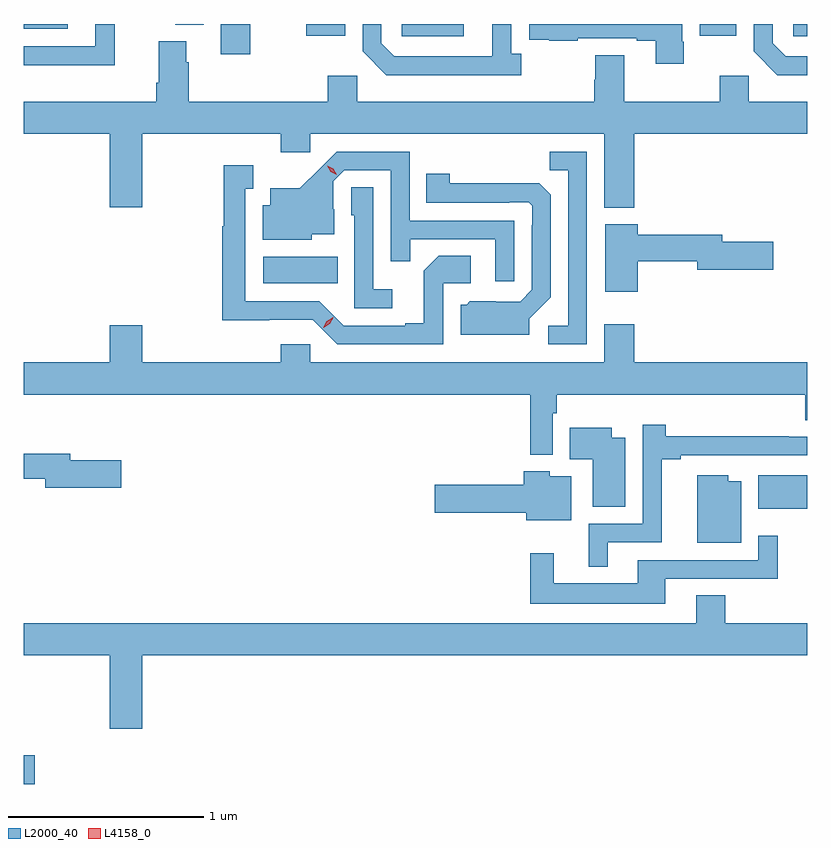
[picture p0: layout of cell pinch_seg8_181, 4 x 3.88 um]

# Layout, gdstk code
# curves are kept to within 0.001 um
import gdstk
lib = gdstk.Library(unit=1e-6, precision=1e-09)
def R(c, l, rs):  # rectangles x0, y0, x1, y1
    for r in rs: c.add(gdstk.rectangle(r[:2], r[2:], *l))
def P(c, l, *ps):  # polygons
    for p in ps: c.add(gdstk.Polygon(p, *l))
L2000_40 = (2000, 40)
L4158_0 = (4158, 0)

pinch_seg8_181 = lib.new_cell('pinch_seg8_181')
R(pinch_seg8_181, L2000_40, [(632.101,1150.475,632.155,1150.622), (635.852,1151.882,636.101,1152.052), (633.324,1153.034,633.704,1153.168), (633.107,1154.202,633.256,1154.357), (634.032,1154.295,634.348,1154.357), (636.03,1154.295,636.101,1154.357), (633.543,1154.297,633.742,1154.357), (635.552,1154.297,635.74,1154.357), (632.101,1154.334,632.326,1154.357), (632.873,1154.354,633.019,1154.357)])
P(pinch_seg8_181, L2000_40, [(632.565,1154.357),(632.465,1154.357),(632.465,1154.244),(632.101,1154.244),(632.101,1154.147),(632.565,1154.147)],
  [(636.101,1154.193),(635.991,1154.193),(635.925,1154.259),(635.925,1154.357),(635.829,1154.357),(635.829,1154.217),(635.95,1154.096),(636.101,1154.096)],
  [(635.472,1154.266),(635.463,1154.266),(635.463,1154.357),(634.681,1154.357),(634.681,1154.277),(634.783,1154.277),(634.783,1154.271),(634.931,1154.271),(634.931,1154.283),(635.231,1154.283),(635.231,1154.271),(635.327,1154.271),(635.327,1154.154),(635.472,1154.154)],
  [(634.642,1154.206),(634.59,1154.206),(634.59,1154.357),(634.493,1154.357),(634.493,1154.193),(633.993,1154.193),(633.927,1154.259),(633.927,1154.357),(633.831,1154.357),(633.831,1154.217),(633.952,1154.096),(634.642,1154.096)],
  [(632.789,1154.269),(632.789,1154.056),(632.777,1154.056),(632.777,1153.96),(632.101,1153.96),(632.101,1153.796),(632.54,1153.796),(632.54,1153.422),(632.704,1153.422),(632.704,1153.796),(633.413,1153.796),(633.413,1153.701),(633.564,1153.701),(633.564,1153.796),(635.066,1153.796),(635.066,1153.418),(635.219,1153.418),(635.219,1153.796),(636.101,1153.796),(636.101,1153.96),(635.802,1153.96),(635.802,1154.092),(635.656,1154.092),(635.656,1153.96),(635.167,1153.96),(635.167,1154.198),(635.02,1154.198),(635.02,1154.073),(635.015,1154.073),(635.015,1153.96),(633.804,1153.96),(633.804,1154.092),(633.653,1154.092),(633.653,1153.96),(632.942,1153.96),(632.942,1154.162),(632.929,1154.162),(632.929,1154.269)],
  [(634.977,1153.704),(634.786,1153.704),(634.786,1153.609),(634.881,1153.609),(634.881,1152.816),(634.779,1152.816),(634.779,1152.72),(634.977,1152.72)],
  [(634.605,1153.353),(634.071,1153.353),(634.071,1153.704),(633.698,1153.704),(633.511,1153.519),(633.359,1153.519),(633.359,1153.432),(633.32,1153.432),(633.32,1153.256),(633.57,1153.256),(633.57,1153.283),(633.685,1153.283),(633.685,1153.412),(633.681,1153.412),(633.681,1153.554),(633.738,1153.611),(633.975,1153.611),(633.975,1153.144),(634.073,1153.144),(634.073,1153.257),(634.509,1153.257),(634.509,1153.044),(634.605,1153.044)],
  [(634.242,1153.032),(634.384,1153.032),(634.384,1153.172),(634.219,1153.172),(634.143,1153.096),(634.143,1152.829),(634.049,1152.829),(634.049,1152.816),(633.735,1152.816),(633.609,1152.942),(633.232,1152.942),(633.232,1153.515),(633.271,1153.515),(633.271,1153.636),(633.121,1153.636),(633.121,1153.323),(633.114,1153.323),(633.114,1152.845),(633.576,1152.846),(633.702,1152.72),(634.242,1152.72)],
  [(634.681,1152.852),(634.791,1152.962),(634.791,1153.484),(634.732,1153.543),(634.275,1153.544),(634.275,1153.591),(634.156,1153.591),(634.156,1153.443),(634.58,1153.443),(634.58,1153.446),(634.68,1153.446),(634.698,1153.428),(634.698,1153.328),(634.695,1153.328),(634.695,1152.999),(634.635,1152.939),(634.378,1152.94),(634.362,1152.924),(634.331,1152.924),(634.331,1152.77),(634.681,1152.77)],
  [(633.982,1153.003),(633.885,1153.003),(633.885,1153.523),(633.774,1153.523),(633.774,1153.38),(633.789,1153.38),(633.789,1152.906),(633.982,1152.906)],
  [(635.236,1153.144),(635.54,1153.144),(635.54,1153.102),(635.929,1153.102),(635.929,1153.244),(635.668,1153.244),(635.668,1153.28),(635.236,1153.28),(635.236,1153.333),(635.069,1153.333),(635.069,1152.99),(635.236,1152.99)],
  [(634.803,1152.368),(634.823,1152.368),(634.823,1152.464),(636.092,1152.464),(636.092,1152.334),(636.101,1152.334),(636.101,1152.628),(635.219,1152.628),(635.219,1152.823),(635.066,1152.823),(635.066,1152.628),(633.564,1152.628),(633.564,1152.721),(633.413,1152.721),(633.413,1152.628),(632.704,1152.628),(632.704,1152.817),(632.54,1152.817),(632.54,1152.628),(632.101,1152.628),(632.101,1152.464),(634.687,1152.464),(634.687,1152.158),(634.803,1152.158)],
  [(635.083,1151.709),(635.36,1151.709),(635.36,1152.133),(635.455,1152.133),(635.455,1152.153),(636.101,1152.153),(636.101,1152.249),(636.008,1152.249),(636.008,1152.251),(635.378,1152.251),(635.378,1152.31),(635.262,1152.31),(635.262,1151.805),(634.985,1151.805),(634.985,1151.585),(635.083,1151.585)],
  [(635.173,1152.244),(635.104,1152.244),(635.104,1152.295),(634.888,1152.295),(634.888,1152.134),(635.006,1152.134),(635.006,1151.89),(635.173,1151.89)],
  [(632.599,1152.129),(632.338,1152.129),(632.338,1152.163),(632.101,1152.163),(632.101,1152.034),(632.21,1152.034),(632.21,1151.987),(632.599,1151.987)],
  [(634.897,1152.046),(634.788,1152.046),(634.788,1152.073),(634.655,1152.073),(634.655,1152.003),(634.2,1152.003),(634.2,1151.861),(634.667,1151.861),(634.667,1151.822),(634.897,1151.822)],
  [(635.764,1152.022),(635.698,1152.022),(635.698,1152.052),(635.54,1152.052),(635.54,1151.708),(635.764,1151.708)],
  [(635.377,1151.523),(635.951,1151.523),(635.951,1151.743),(635.853,1151.743),(635.853,1151.619),(635.237,1151.619),(635.237,1151.5),(634.807,1151.5),(634.807,1151.653),(634.686,1151.653),(634.686,1151.396),(635.377,1151.396)],
  [(632.704,1151.132),(636.101,1151.132),(636.101,1151.296),(635.682,1151.296),(635.682,1151.438),(635.534,1151.438),(635.534,1151.296),(632.101,1151.296),(632.101,1151.132),(632.54,1151.132),(632.54,1150.758),(632.704,1150.758)])
P(pinch_seg8_181, L4158_0, [(633.698,1153.588),(633.667,1153.603),(633.649,1153.632),(633.649,1153.632),(633.65,1153.632),(633.68,1153.617),(633.698,1153.588),(633.698,1153.588)],
  [(633.631,1152.805),(633.631,1152.805),(633.648,1152.838),(633.68,1152.858),(633.68,1152.858),(633.68,1152.857),(633.663,1152.825),(633.632,1152.805)])

lib.write_gds('pinch_seg8_181.gds')
